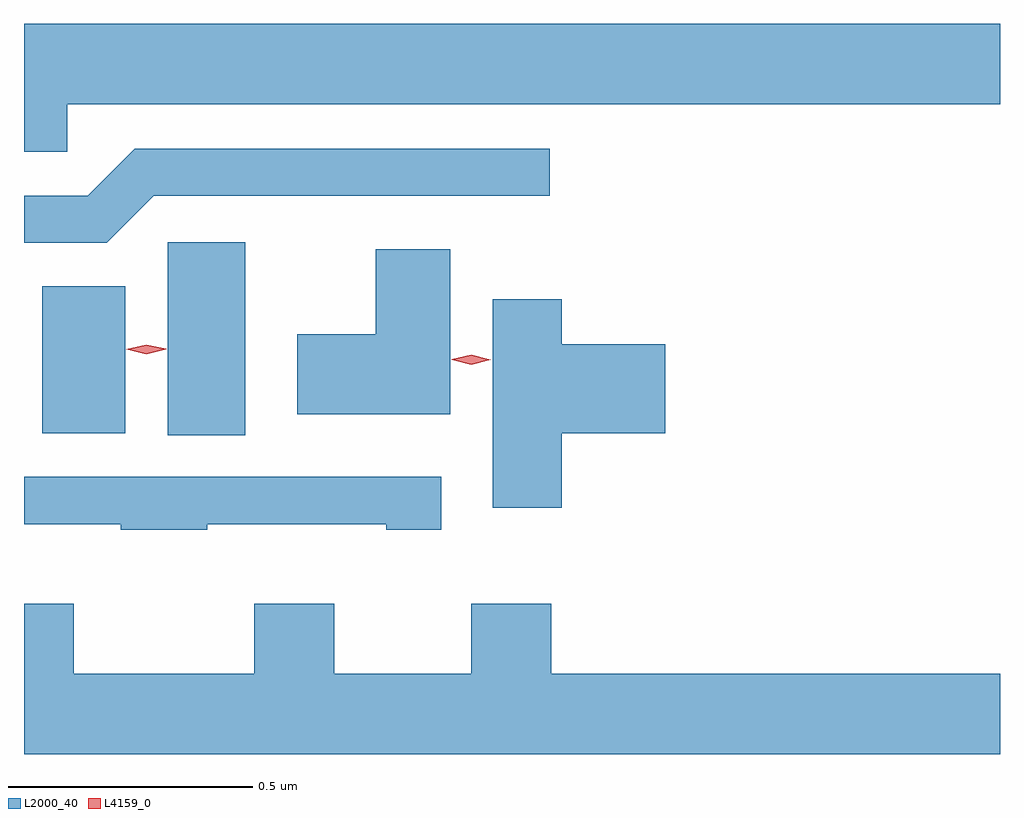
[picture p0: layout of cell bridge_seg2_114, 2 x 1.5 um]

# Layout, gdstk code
import gdstk
lib = gdstk.Library(unit=1e-6, precision=1e-09)
def R(c, l, rs):  # rectangles x0, y0, x1, y1
    for r in rs: c.add(gdstk.rectangle(r[:2], r[2:], *l))
def P(c, l, *ps):  # polygons
    for p in ps: c.add(gdstk.Polygon(p, *l))
L2000_40 = (2000, 40)
L4159_0 = (4159, 0)

bridge_seg2_114 = lib.new_cell('bridge_seg2_114')
R(bridge_seg2_114, L2000_40, [(473.72,624.313,473.878,624.709), (473.462,624.317,473.632,624.619)])
P(bridge_seg2_114, L2000_40, [(473.514,624.992),(475.425,624.992),(475.425,625.156),(473.425,625.156),(473.425,624.894),(473.514,624.894)],
  [(473.691,624.804),(474.502,624.804),(474.502,624.9),(473.652,624.9),(473.556,624.804),(473.425,624.804),(473.425,624.708),(473.595,624.708)],
  [(474.298,624.694),(474.146,624.694),(474.146,624.52),(473.985,624.52),(473.985,624.356),(474.298,624.356)],
  [(474.527,624.317),(474.739,624.317),(474.739,624.5),(474.527,624.5),(474.527,624.592),(474.386,624.592),(474.386,624.165),(474.527,624.165)],
  [(473.801,624.131),(474.167,624.131),(474.167,624.12),(474.28,624.12),(474.28,624.228),(473.425,624.228),(473.425,624.131),(473.623,624.131),(473.623,624.12),(473.801,624.12)],
  [(475.425,623.824),(474.505,623.824),(474.505,623.968),(474.341,623.968),(474.341,623.824),(474.061,623.824),(474.061,623.968),(473.897,623.968),(473.897,623.824),(473.527,623.824),(473.527,623.968),(473.425,623.968),(473.425,623.66),(475.425,623.66)])
P(bridge_seg2_114, L4159_0, [(474.341,624.458),(474.302,624.468),(474.302,624.469),(474.302,624.469),(474.342,624.478),(474.381,624.468),(474.381,624.468),(474.381,624.468)],
  [(473.675,624.479),(473.635,624.489),(473.635,624.489),(473.635,624.489),(473.675,624.499),(473.716,624.49),(473.716,624.49),(473.716,624.489)])

lib.write_gds('bridge_seg2_114.gds')
